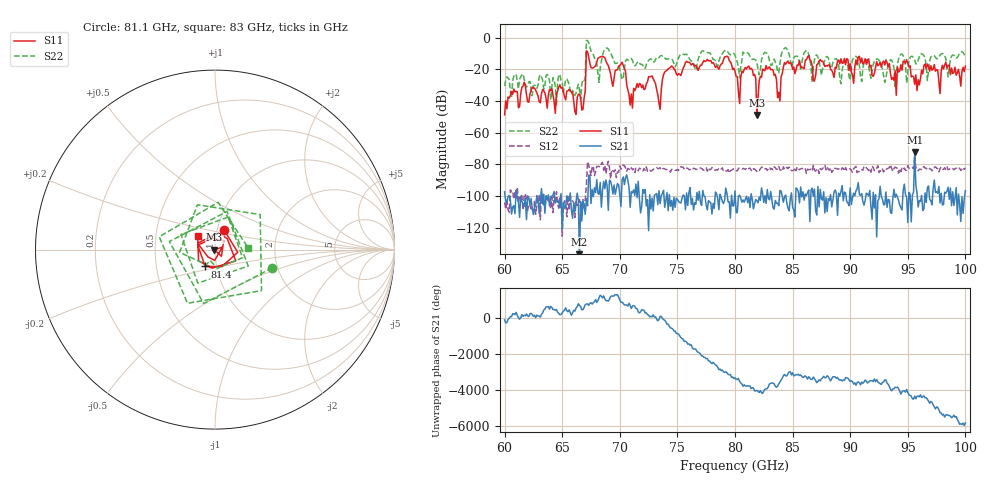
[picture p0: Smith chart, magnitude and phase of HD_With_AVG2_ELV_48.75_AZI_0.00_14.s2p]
! 11/25/2026 10:16:46 AM
! C:\ANRITSUVNA\TEMP\TEMP.S2P
! CHANNEL.1
! TR.MEASUREMENT
! RAW.DATA
# HZ S RI R 50.0
! FREQ.HZ  S11RE  S11IM  S21RE  S21IM  S12RE  S12IM  S22RE  S22IM
!; PortSelection: Port_12
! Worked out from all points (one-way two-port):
!   401 points, 60 GHz to 100 GHz, reference 50 ohm
!   highest |S21| = -72.25 dB at 95.6 GHz (marker M1); lowest = -140.0 dB at 66.5 GHz (marker M2)
!   lowest |S11| = -48.8 dB at 81.9 GHz (marker M3), VSWR 1.01, Z = 49.6 + j0.0456 ohm
!   |S11| at or under -10 dB: start of sweep to 67.09 GHz; 67.23 GHz to end of sweep
!   |S22| runs from -42.8 to -1.7 dB; largest |S21 - S12| = 0.00032
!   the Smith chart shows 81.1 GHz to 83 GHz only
!   S11 on the Smith chart (normalised r, x): 81.1 GHz: 1.08, +0.24; 81.4 GHz: 0.88, -0.17; 83 GHz: 0.82, +0.12
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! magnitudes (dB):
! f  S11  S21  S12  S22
! 60 GHz  -48.6  -97.3  -104.0  -30.5
! 61.6 GHz  -30.6  -104.8  -108.8  -22.8
! 66.5 GHz  -35.6  -140.0  -102.3  -32.9
! 66.7 GHz  -45.7  -115.9  -104.8  -29.5
! 67.3 GHz  -12.1  -86.7  -80.2  -3.2
! 68.4 GHz  -11.8  -107.1  -79.5  -14.7
! 70.3 GHz  -17.5  -87.9  -80.5  -25.5
! 70.9 GHz  -42.6  -107.1  -83.8  -13.5
! 72.7 GHz  -24.4  -108.3  -84.2  -13.3
! 73.4 GHz  -41.2  -96.7  -82.6  -12.6
! 74.4 GHz  -18.6  -106.5  -84.9  -13.4
! 80 GHz  -21.2  -96.8  -83.0  -11.1
! 81.1 GHz  -18.4  -104.2  -82.0  -9.5
! 81.4 GHz  -19.3  -98.6  -83.7  -13.0
! 81.9 GHz  -48.8  -103.0  -84.4  -15.9
! 83 GHz  -18.3  -102.4  -81.8  -14.6
! 83.8 GHz  -34.4  -106.1  -81.2  -22.3
! 84.5 GHz  -15.5  -104.4  -81.9  -7.0
! 86.7 GHz  -17.5  -95.0  -84.2  -28.0
! 93.4 GHz  -16.3  -102.5  -82.1  -15.6
! 95.6 GHz  -29.5  -72.2  -74.2  -14.0
! 100 GHz  -17.9  -96.6  -82.2  -12.1
